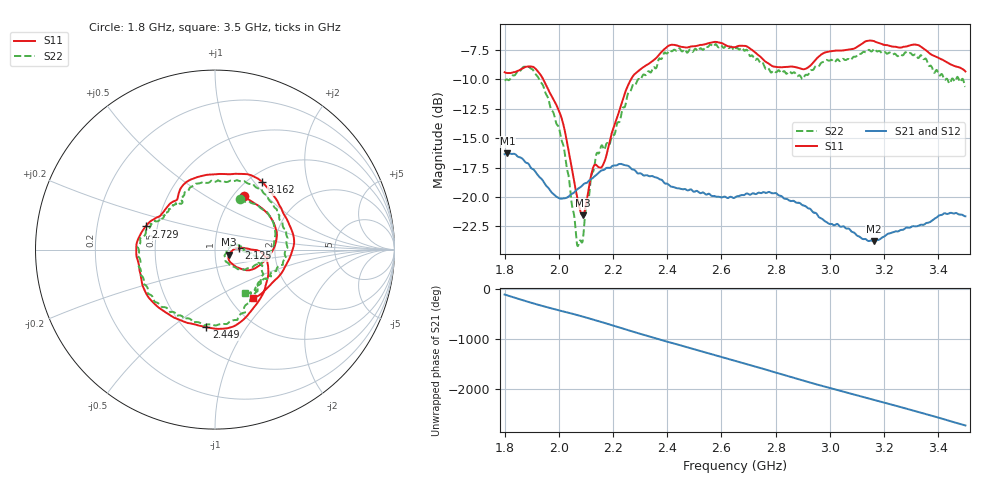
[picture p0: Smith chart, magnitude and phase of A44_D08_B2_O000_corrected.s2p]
! Created with skrf 1.9.0 (http://scikit-rf.org).
# Hz S RI R 50.0
!freq ReS11 ImS11 ReS21 ImS21 ReS12 ImS12 ReS22 ImS22
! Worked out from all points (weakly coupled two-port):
!   1601 points, 1.8 GHz to 3.5 GHz, reference 50 ohm
!   highest |S21| = -16.28 dB at 1.811 GHz (marker M1); lowest = -23.7 dB at 3.162 GHz (marker M2)
!   lowest |S11| = -21.5 dB at 2.089 GHz (marker M3), VSWR 1.18, Z = 58.4 - j3.38 ohm
!   |S11| at or under -10 dB: 1.943 GHz to 2.266 GHz (323.7 MHz wide, 15.4 % of centre)
!   |S22| runs from -24.2 to -7.0 dB; largest |S21 - S12| = 0.0029
!   S11 on the Smith chart (normalised r, x): 1.8 GHz: 1.12, +0.75; 2.125 GHz: 1.30, +0.02; 2.449 GHz: 0.63, -0.67; 2.729 GHz: 0.43, +0.13; 3.162 GHz: 1.15, +1.10; 3.5 GHz: 1.27, -0.77
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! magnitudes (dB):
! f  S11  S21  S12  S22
! 1.8 GHz  -9.4  -16.4  -16.4  -10.1
! 1.811 GHz  -9.5  -16.3  -16.3  -10.0
! 1.885 GHz  -8.9  -17.1  -17.2  -8.9
! 1.941 GHz  -9.9  -18.6  -18.6  -10.5
! 2.013 GHz  -13.5  -20.1  -20.1  -15.3
! 2.067 GHz  -19.9  -19.4  -19.4  -23.9
! 2.084 GHz  -21.5  -19.1  -19.0  -23.8
! 2.089 GHz  -21.5  -19.0  -19.0  -23.6
! 2.125 GHz  -17.6  -18.4  -18.4  -17.9
! 2.167 GHz  -17.1  -17.7  -17.7  -16.0
! 2.204 GHz  -14.0  -17.3  -17.3  -14.7
! 2.268 GHz  -10.0  -17.6  -17.6  -10.8
! 2.367 GHz  -8.0  -18.4  -18.4  -8.4
! 2.449 GHz  -7.2  -19.3  -19.3  -7.5
! 2.65 GHz  -7.3  -20.0  -20.0  -7.5
! 2.729 GHz  -7.8  -19.7  -19.8  -8.3
! 2.798 GHz  -8.9  -19.7  -19.7  -9.3
! 2.934 GHz  -8.7  -21.2  -21.2  -9.2
! 3.162 GHz  -6.7  -23.7  -23.7  -7.4
! 3.217 GHz  -7.1  -23.1  -23.1  -7.7
! 3.325 GHz  -7.1  -22.5  -22.4  -8.2
! 3.5 GHz  -9.3  -21.6  -21.6  -10.6
